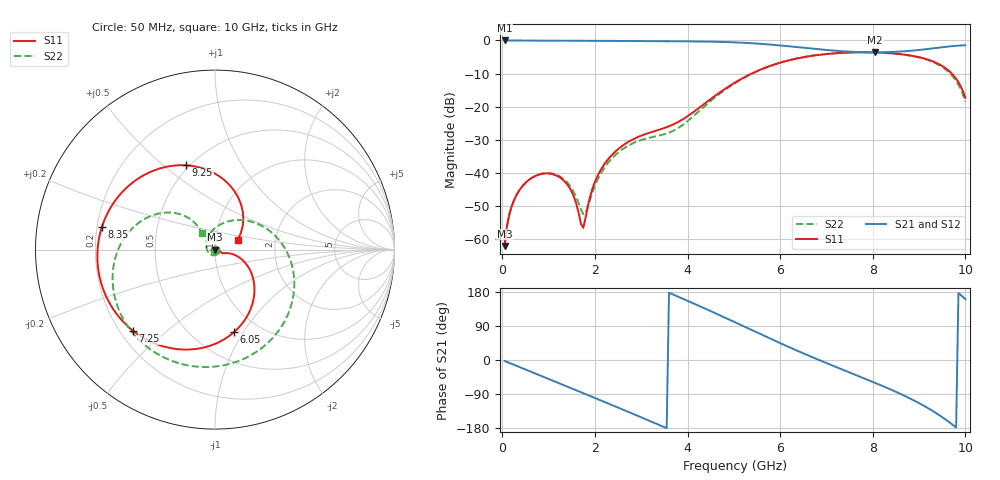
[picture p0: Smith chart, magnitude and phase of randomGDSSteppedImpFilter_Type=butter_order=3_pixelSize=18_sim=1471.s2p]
! freq	dB(S11)	phase(S11)	dB(S12)	phase(S12)
!  dB(S21)	phase(S21)	dB(S22)	phase(S22)
!S-par simulation data
#  GHz  S  DB  R 50
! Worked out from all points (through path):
!   200 points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, 50 MHz to 10 GHz, reference 50 ohm
!   highest |S21| = 0.00 dB at 50 MHz (marker M1); lowest = -3.6 dB at 8.05 GHz (marker M2)
!   group delay of S21, straight-line fit = 149 ps
!   lowest |S11| = -62.1 dB at 50 MHz (marker M3), VSWR 1.00, Z = 50 - j0.0781 ohm
!   |S11| at or under -10 dB: start of sweep to 5.387 GHz; 9.705 GHz to end of sweep
!   |S22| runs from -62.2 to -3.5 dB; largest |S21 - S12| = 0
!   S11 on the Smith chart (normalised r, x): 50 MHz: 1.00, -0.00; 6.05 GHz: 0.77, -0.91; 7.25 GHz: 0.25, -0.39; 8.35 GHz: 0.22, +0.09; 9.25 GHz: 0.48, +0.60; 10 GHz: 1.28, +0.14
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0.05  -62.13 -86.6  -0.00 -2.6  -0.00 -2.6  -62.20 -87.1
0.15  -52.69 -94.8  -0.02 -7.6  -0.02 -7.6  -52.76 -96.5
0.3  -46.91 -102.5  -0.03 -15.1  -0.03 -15.1  -46.97 -105.9
0.85  -40.35 -128.8  -0.05 -42.5  -0.05 -42.5  -40.29 -139.0
1.4  -43.49 -159.7  -0.08 -70.0  -0.08 -70.0  -42.88 -179.8
1.55  -47.37 -173.9  -0.09 -77.6  -0.09 -77.6  -45.98 161.9
1.75  -56.65 93.8  -0.10 -87.6  -0.10 -87.6  -52.51 96.0
1.95  -44.66 21.6  -0.11 -97.7  -0.11 -97.7  -45.78 10.8
2.25  -36.54 0.9  -0.13 -112.9  -0.13 -112.9  -37.60 -26.0
2.75  -30.44 -18.2  -0.17 -138.4  -0.17 -138.4  -31.58 -67.7
3.4  -26.93 -25.7  -0.22 -172.0  -0.22 -172.0  -28.71 -133.5
4.15  -21.43 -14.4  -0.30 148.2  -0.30 148.2  -22.58 124.9
5.05  -12.51 -32.1  -0.60 98.2  -0.60 98.2  -12.70 44.7
5.5  -9.28 -51.0  -0.94 72.6  -0.94 72.6  -9.33 13.6
6.05  -6.52 -77.0  -1.58 41.8  -1.58 41.8  -6.51 -21.0
6.7  -4.62 -108.7  -2.49 7.1  -2.49 7.1  -4.57 -57.9
7.25  -3.84 -135.3  -3.17 -20.6  -3.17 -20.6  -3.78 -86.4
8.05  -3.64 -175.1  -3.59 -60.2  -3.59 -60.2  -3.60 -125.8
8.35  -3.84 168.7  -3.52 -75.8  -3.52 -75.8  -3.82 -140.8
9.25  -6.08 109.0  -2.49 -131.2  -2.49 -131.2  -6.24 168.0
9.7  -9.93 66.2  -1.74 -168.5  -1.74 -168.5  -10.44 137.3
10  -17.32 22.8  -1.47 160.6  -1.47 160.6  -18.55 128.7
